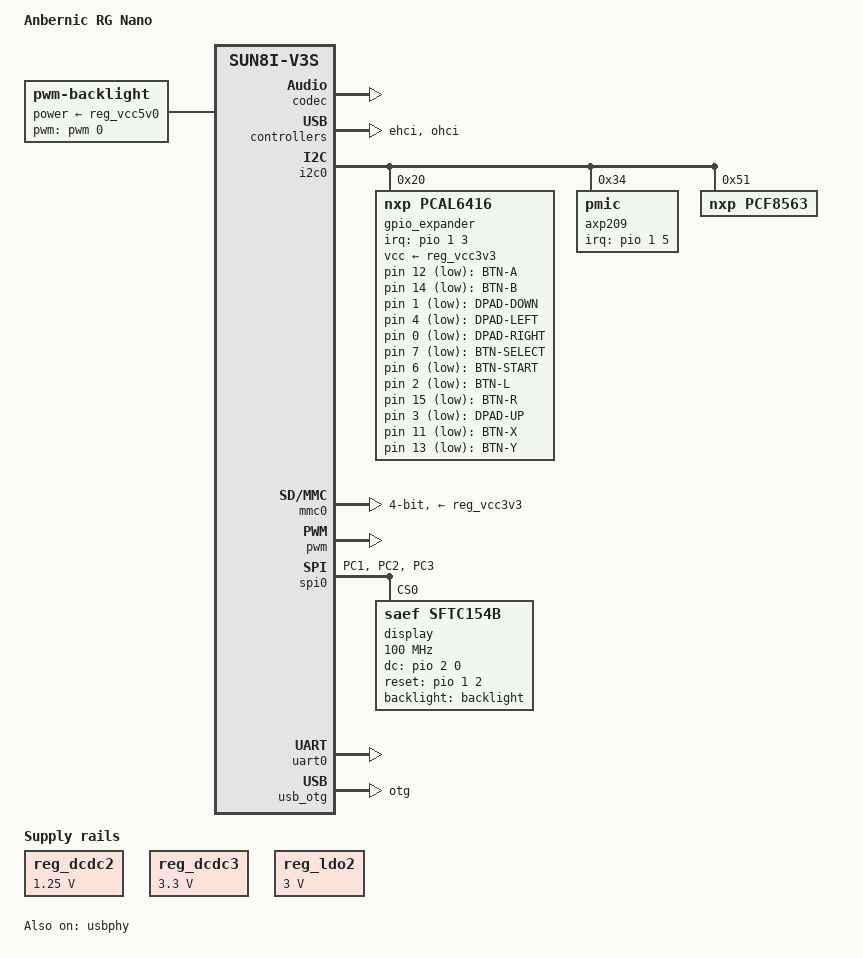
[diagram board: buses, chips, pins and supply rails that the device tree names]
// SPDX-License-Identifier: (GPL-2.0+ OR MIT)

/dts-v1/;
#include <dt-bindings/input/linux-event-codes.h>
#include "sun8i-v3s.dtsi"
#include "sunxi-common-regulators.dtsi"

/ {
	model = "Anbernic RG Nano";
	compatible = "anbernic,rg-nano", "allwinner,sun8i-v3s";

	aliases {
		rtc0 = &pcf8563;
		rtc1 = &rtc;
		serial0 = &uart0;
	};

	backlight: backlight {
		compatible = "pwm-backlight";
		brightness-levels = <0 1 2 3 8 14 21 32 46 60 80 100>;
		default-brightness-level = <11>;
		power-supply = <&reg_vcc5v0>;
		pwms = <&pwm 0 40000 1>;
	};

	chosen {
		stdout-path = "serial0:115200n8";
	};

	gpio_keys: gpio-keys {
		compatible = "gpio-keys";

		button-a {
			gpios = <&gpio_expander 12 (GPIO_ACTIVE_LOW | GPIO_PULL_UP)>;
			label = "BTN-A";
			linux,code = <BTN_EAST>;
		};

		button-b {
			gpios = <&gpio_expander 14 (GPIO_ACTIVE_LOW | GPIO_PULL_UP)>;
			label = "BTN-B";
			linux,code = <BTN_SOUTH>;
		};

		button-down {
			gpios = <&gpio_expander 1 (GPIO_ACTIVE_LOW | GPIO_PULL_UP)>;
			label = "DPAD-DOWN";
			linux,code = <BTN_DPAD_DOWN>;
		};

		button-left {
			gpios = <&gpio_expander 4 (GPIO_ACTIVE_LOW | GPIO_PULL_UP)>;
			label = "DPAD-LEFT";
			linux,code = <BTN_DPAD_LEFT>;
		};

		button-right {
			gpios = <&gpio_expander 0 (GPIO_ACTIVE_LOW | GPIO_PULL_UP)>;
			label = "DPAD-RIGHT";
			linux,code = <BTN_DPAD_RIGHT>;
		};

		button-se {
			gpios = <&gpio_expander 7 (GPIO_ACTIVE_LOW | GPIO_PULL_UP)>;
			label = "BTN-SELECT";
			linux,code = <BTN_SELECT>;
		};

		button-st {
			gpios = <&gpio_expander 6 (GPIO_ACTIVE_LOW | GPIO_PULL_UP)>;
			label = "BTN-START";
			linux,code = <BTN_START>;
		};

		button-tl {
			gpios = <&gpio_expander 2 (GPIO_ACTIVE_LOW | GPIO_PULL_UP)>;
			label = "BTN-L";
			linux,code = <BTN_TL>;
		};

		button-tr {
			gpios = <&gpio_expander 15 (GPIO_ACTIVE_LOW | GPIO_PULL_UP)>;
			label = "BTN-R";
			linux,code = <BTN_TR>;
		};

		button-up {
			gpios = <&gpio_expander 3 (GPIO_ACTIVE_LOW | GPIO_PULL_UP)>;
			label = "DPAD-UP";
			linux,code = <BTN_DPAD_UP>;
		};

		button-x {
			gpios = <&gpio_expander 11 (GPIO_ACTIVE_LOW | GPIO_PULL_UP)>;
			label = "BTN-X";
			linux,code = <BTN_NORTH>;
		};

		button-y {
			gpios = <&gpio_expander 13 (GPIO_ACTIVE_LOW | GPIO_PULL_UP)>;
			label = "BTN-Y";
			linux,code = <BTN_WEST>;
		};
	};
};

&codec {
	allwinner,audio-routing = "Speaker", "HP",
				  "MIC1", "Mic",
				  "Mic", "HBIAS";
	allwinner,pa-gpios = <&pio 5 6 (GPIO_ACTIVE_HIGH | GPIO_PULL_UP)>; /* PF6 */
	status = "okay";
};

&ehci {
	status = "okay";
};

&i2c0 {
	status = "okay";

	gpio_expander: gpio@20 {
		compatible = "nxp,pcal6416";
		reg = <0x20>;
		gpio-controller;
		#gpio-cells = <2>;
		#interrupt-cells = <2>;
		interrupt-controller;
		interrupt-parent = <&pio>;
		interrupts = <1 3 IRQ_TYPE_EDGE_BOTH>; /* PB3/EINT3 */
		vcc-supply = <&reg_vcc3v3>;
	};

	axp209: pmic@34 {
		reg = <0x34>;
		interrupt-parent = <&pio>;
		interrupts = <1 5 IRQ_TYPE_EDGE_FALLING>; /* PB5/EINT5 */
	};

	pcf8563: rtc@51 {
		compatible = "nxp,pcf8563";
		reg = <0x51>;
	};
};

#include "axp209.dtsi"

&battery_power_supply {
	status = "okay";
};

&mmc0 {
	broken-cd;
	bus-width = <4>;
	disable-wp;
	vmmc-supply = <&reg_vcc3v3>;
	vqmmc-supply = <&reg_vcc3v3>;
	status = "okay";
};

&ohci {
	status = "okay";
};

&pio {
	vcc-pb-supply = <&reg_vcc3v3>;
	vcc-pc-supply = <&reg_vcc3v3>;
	vcc-pf-supply = <&reg_vcc3v3>;
	vcc-pg-supply = <&reg_vcc3v3>;

	spi0_no_miso_pins: spi0-no-miso-pins {
		pins = "PC1", "PC2", "PC3";
		function = "spi0";
	};
};

&pwm {
	pinctrl-0 = <&pwm0_pin>;
	pinctrl-names = "default";
	status = "okay";
};

/* DCDC2 wired into vdd-cpu, vdd-sys, and vdd-ephy. */
&reg_dcdc2 {
	regulator-always-on;
	regulator-max-microvolt = <1250000>;
	regulator-min-microvolt = <1250000>;
	regulator-name = "vdd-cpu";
};

/* DCDC3 wired into every 3.3v input that isn't the RTC. */
&reg_dcdc3 {
	regulator-always-on;
	regulator-max-microvolt = <3300000>;
	regulator-min-microvolt = <3300000>;
	regulator-name = "vcc-io";
};

/* LDO1 wired into RTC, voltage is hard-wired at 3.3v. */
&reg_ldo1 {
	regulator-always-on;
	regulator-name = "vcc-rtc";
};

/* LDO2 wired into VCC-PLL and audio codec. */
&reg_ldo2 {
	regulator-always-on;
	regulator-max-microvolt = <3000000>;
	regulator-min-microvolt = <3000000>;
	regulator-name = "vcc-pll";
};

/* LDO3, LDO4, and LDO5 unused. */
&reg_ldo3 {
	status = "disabled";
};

&reg_ldo4 {
	status = "disabled";
};

/* RTC uses internal oscillator */
&rtc {
	/delete-property/ clocks;
};

&spi0 {
	pinctrl-0 = <&spi0_no_miso_pins>;
	pinctrl-names = "default";
	status = "okay";

	display@0 {
		compatible = "saef,sftc154b", "panel-mipi-dbi-spi";
		reg = <0>;
		backlight = <&backlight>;
		dc-gpios = <&pio 2 0 GPIO_ACTIVE_HIGH>; /* PC0 */
		reset-gpios = <&pio 1 2 GPIO_ACTIVE_HIGH>; /* PB2 */
		spi-max-frequency = <100000000>;

		height-mm = <39>;
		width-mm = <39>;

		/* Set hb-porch to compensate for non-visible area */
		panel-timing {
			hactive = <240>;
			vactive = <240>;
			hback-porch = <80>;
			vback-porch = <0>;
			clock-frequency = <0>;
			hfront-porch = <0>;
			hsync-len = <0>;
			vfront-porch = <0>;
			vsync-len = <0>;
		};
	};
};

&uart0 {
	pinctrl-0 = <&uart0_pb_pins>;
	pinctrl-names = "default";
	status = "okay";
};

&usb_otg {
	dr_mode = "otg";
	status = "okay";
};

&usb_power_supply {
	status = "okay";
};

&usbphy {
	usb0_id_det-gpios = <&pio 6 5 (GPIO_ACTIVE_LOW | GPIO_PULL_UP)>; /* PG5 */
	status = "okay";
};
